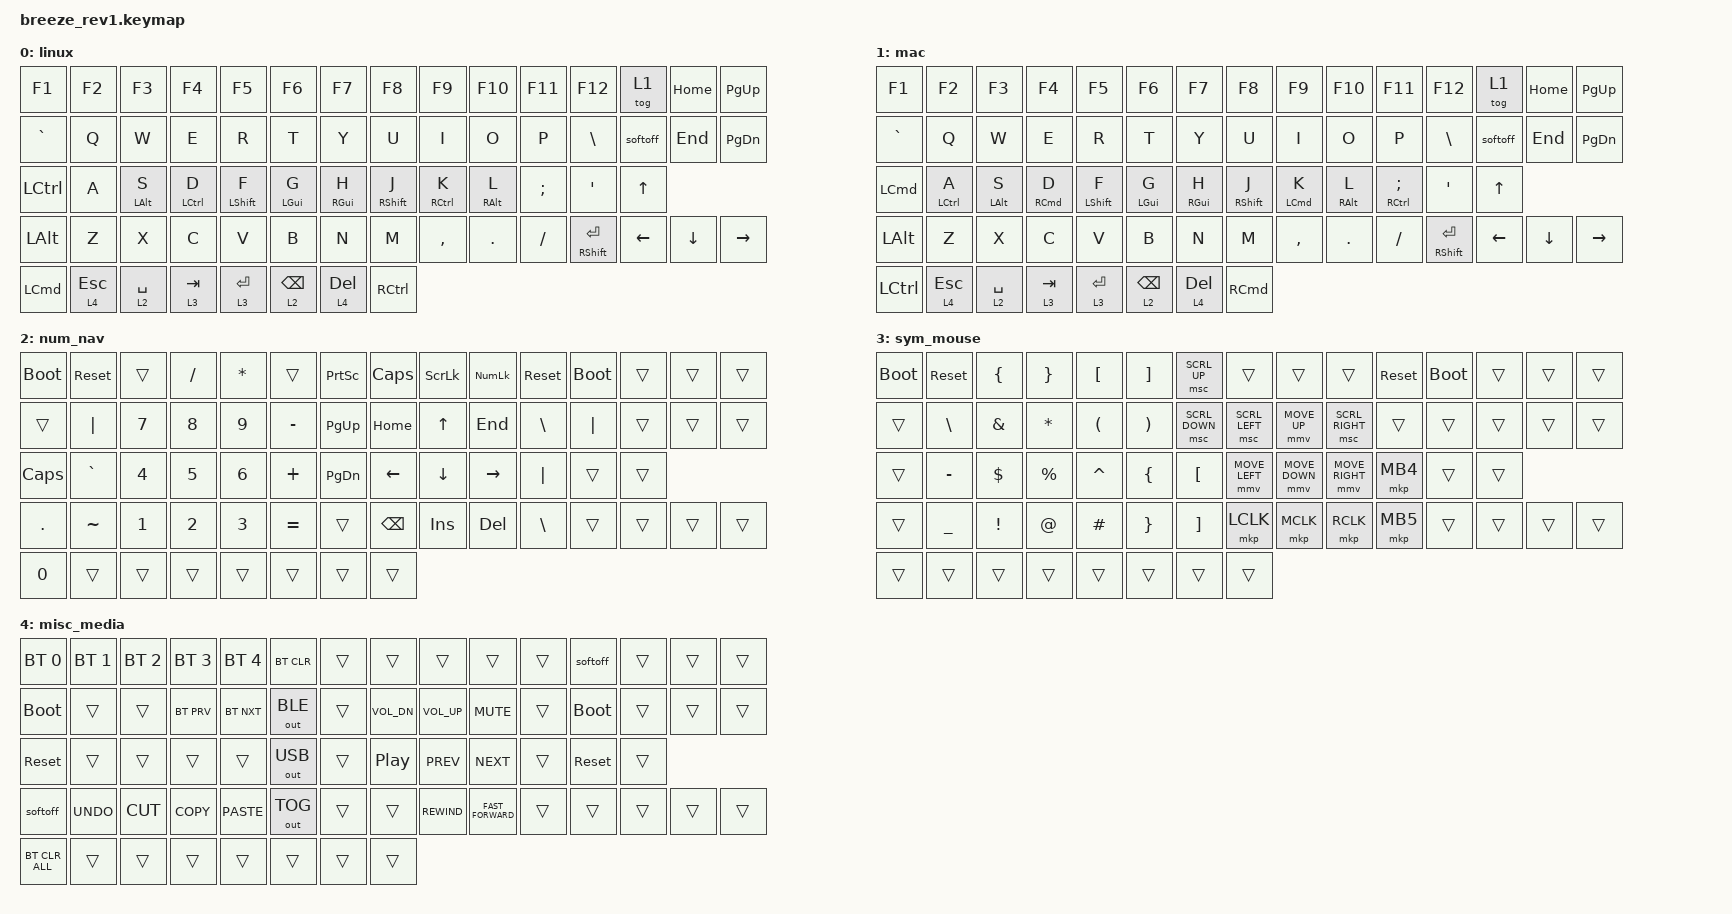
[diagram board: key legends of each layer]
/*
 * Copyright (c) 2022 The ZMK Contributors
 *
 * SPDX-License-Identifier: MIT
 */

#define ZMK_POINTING_DEFAULT_MOVE_VAL 1200  // default: 600
#define ZMK_POINTING_DEFAULT_SCRL_VAL 25    // default: 10

#include <input/processors.dtsi>
#include <zephyr/dt-bindings/input/input-event-codes.h>
#include <behaviors.dtsi>
#include <dt-bindings/zmk/bt.h>
#include <dt-bindings/zmk/keys.h>
#include <dt-bindings/zmk/outputs.h>
#include <dt-bindings/zmk/pointing.h>

&mmv_input_listener { input-processors = <&zip_xy_scaler 2 1>; };

&msc_input_listener { input-processors = <&zip_scroll_scaler 2 1>; };

&mmv {
    time-to-max-speed-ms = <500>;
    trigger-period-ms = <16>;
};

&msc {
    acceleration-exponent = <1>;
    time-to-max-speed-ms = <100>;
    delay-ms = <0>;
};

/ {
    combos {
        compatible = "zmk,combos";

        soft_off {
            bindings = <&softoff>;
            key-positions = <0 48>;
        };
    };

    behaviors {
        hrm: hrm {
            compatible = "zmk,behavior-hold-tap";
            label = "HRM";
            bindings = <&kp>, <&kp>;

            #binding-cells = <2>;
            tapping-term-ms = <200>;
            quick-tap-ms = <0>;
            flavor = "tap-preferred";
        };

        softoff: softoff {
            compatible = "zmk,behavior-soft-off";
            label = "SOFTOFF";
            #binding-cells = <0>;
            hold-time-ms = <1000>;
        };
    };

    keymap {
        compatible = "zmk,keymap";

        linux {
            bindings = <
&kp F1        &kp F2        &kp F3           &kp F4        &kp F5             &kp F6           &kp F7            &kp F8              &kp F9        &kp F10           &kp F11   &kp F12            &tog 1    &kp HOME  &kp PAGE_UP
&kp GRAVE     &kp Q         &kp W            &kp E         &kp R              &kp T            &kp Y             &kp U               &kp I         &kp O             &kp P     &kp BSLH           &softoff  &kp END   &kp PAGE_DOWN
&kp LCTRL     &kp A         &hrm LEFT_ALT S  &hrm LCTRL D  &hrm LEFT_SHIFT F  &hrm LEFT_GUI G  &hrm RIGHT_GUI H  &hrm RIGHT_SHIFT J  &hrm RCTRL K  &hrm RIGHT_ALT L  &kp SEMI  &kp APOS           &kp UP
&kp LEFT_ALT  &kp Z         &kp X            &kp C         &kp V              &kp B            &kp N             &kp M               &kp COMMA     &kp DOT           &kp FSLH  &hrm RSHIFT ENTER  &kp LEFT  &kp DOWN  &kp RIGHT
&kp LCMD      &lt 4 ESCAPE  &lt 2 SPACE      &lt 3 TAB     &lt 3 ENTER        &lt 2 BACKSPACE  &lt 4 DEL         &kp RIGHT_CONTROL
            >;
        };

        mac {
            bindings = <
&kp F1        &kp F2        &kp F3           &kp F4       &kp F5             &kp F6           &kp F7            &kp F8              &kp F9       &kp F10           &kp F11               &kp F12            &tog 1    &kp HOME  &kp PAGE_UP
&kp GRAVE     &kp Q         &kp W            &kp E        &kp R              &kp T            &kp Y             &kp U               &kp I        &kp O             &kp P                 &kp BSLH           &softoff  &kp END   &kp PAGE_DOWN
&kp LCMD      &hrm LCTRL A  &hrm LEFT_ALT S  &hrm RCMD D  &hrm LEFT_SHIFT F  &hrm LEFT_GUI G  &hrm RIGHT_GUI H  &hrm RIGHT_SHIFT J  &hrm LCMD K  &hrm RIGHT_ALT L  &hrm RCTRL SEMICOLON  &kp APOS           &kp UP
&kp LEFT_ALT  &kp Z         &kp X            &kp C        &kp V              &kp B            &kp N             &kp M               &kp COMMA    &kp DOT           &kp FSLH              &hrm RSHIFT ENTER  &kp LEFT  &kp DOWN  &kp RIGHT
&kp LCTRL     &lt 4 ESC     &lt 2 SPACE      &lt 3 TAB    &lt 3 ENTER        &lt 2 BACKSPACE  &lt 4 DELETE      &kp RCMD
            >;
        };

        num_nav {
            bindings = <
&bootloader   &sys_reset  &trans  &kp FSLH      &kp ASTRK  &trans     &kp PRINTSCREEN  &kp CAPS       &kp SCROLLLOCK  &kp KP_NUMLOCK  &sys_reset     &bootloader  &trans  &trans  &trans
&trans        &kp PIPE    &kp N7  &kp N8        &kp N9     &kp MINUS  &kp PG_UP        &kp HOME       &kp UP          &kp END         &kp BACKSLASH  &kp PIPE     &trans  &trans  &trans
&kp CAPS      &kp GRAVE   &kp N4  &kp N5        &kp N6     &kp PLUS   &kp PAGE_DOWN    &kp LEFT       &kp DOWN        &kp RIGHT       &kp PIPE       &trans       &trans
&kp DOT       &kp TILDE   &kp N1  &kp NUMBER_2  &kp N3     &kp EQUAL  &trans           &kp BACKSPACE  &kp INS         &kp DELETE      &kp BACKSLASH  &trans       &trans  &trans  &trans
&kp NUMBER_0  &trans      &trans  &trans        &trans     &trans     &trans           &trans
            >;
        };

        sym_mouse {
            bindings = <
&bootloader  &sys_reset  &kp LEFT_BRACE  &kp RIGHT_BRACE  &kp LBKT              &kp RBKT               &msc SCRL_UP    &trans          &trans          &trans           &sys_reset  &bootloader  &trans  &trans  &trans
&trans       &kp BSLH    &kp AMPS        &kp STAR         &kp LEFT_PARENTHESIS  &kp RIGHT_PARENTHESIS  &msc SCRL_DOWN  &msc SCRL_LEFT  &mmv MOVE_UP    &msc SCRL_RIGHT  &trans      &trans       &trans  &trans  &trans
&trans       &kp MINUS   &kp DOLLAR      &kp PERCENT      &kp CARET             &kp LEFT_BRACE         &kp LBKT        &mmv MOVE_LEFT  &mmv MOVE_DOWN  &mmv MOVE_RIGHT  &mkp MB4    &trans       &trans
&trans       &kp UNDER   &kp EXCL        &kp AT           &kp POUND             &kp RIGHT_BRACE        &kp RBKT        &mkp LCLK       &mkp MCLK       &mkp RCLK        &mkp MB5    &trans       &trans  &trans  &trans
&trans       &trans      &trans          &trans           &trans                &trans                 &trans          &trans
            >;
        };

        misc_media {
            bindings = <
&bt BT_SEL 0    &bt BT_SEL 1  &bt BT_SEL 2  &bt BT_SEL 3  &bt BT_SEL 4  &bt BT_CLR    &trans  &trans            &trans        &trans              &trans  &softoff     &trans  &trans  &trans
&bootloader     &trans        &trans        &bt BT_PRV    &bt BT_NXT    &out OUT_BLE  &trans  &kp C_VOL_DN      &kp C_VOL_UP  &kp K_MUTE          &trans  &bootloader  &trans  &trans  &trans
&sys_reset      &trans        &trans        &trans        &trans        &out OUT_USB  &trans  &kp C_PLAY_PAUSE  &kp C_PREV    &kp C_NEXT          &trans  &sys_reset   &trans
&softoff        &kp K_UNDO    &kp K_CUT     &kp K_COPY    &kp K_PASTE   &out OUT_TOG  &trans  &trans            &kp C_REWIND  &kp C_FAST_FORWARD  &trans  &trans       &trans  &trans  &trans
&bt BT_CLR_ALL  &trans        &trans        &trans        &trans        &trans        &trans  &trans
            >;
        };
    };
};
